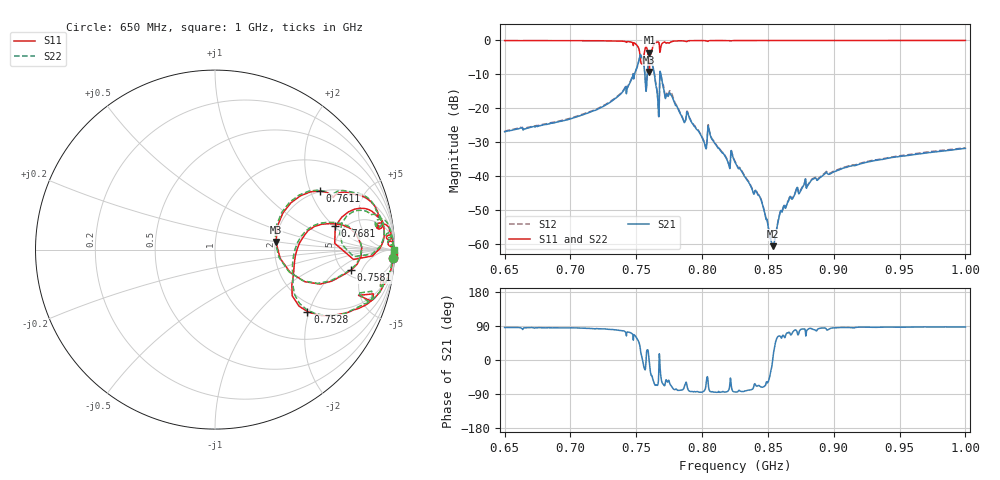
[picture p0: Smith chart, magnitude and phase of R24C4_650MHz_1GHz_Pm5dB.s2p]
!Keysight Technologies,N5221A,MY56011522,A.10.47.06
!Date: Tuesday, September 29, 2020 15:15:48
!Correction: S11(Full 2 Port(1,2))
!S21(Full 2 Port(1,2))
!S12(Full 2 Port(1,2))
!S22(Full 2 Port(1,2))
!S2P File: Measurements: S11, S21, S12, S22:
# Hz S  dB  R 50
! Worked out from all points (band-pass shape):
!   1601 points, 650 MHz to 1 GHz, reference 50 ohm
!   highest |S21| = -3.60 dB at 760 MHz (marker M1); lowest = -60.6 dB at 853.7 MHz (marker M2)
!   |S21| within 3 dB of the highest: 751.6 MHz to 755.6 MHz (3.982 MHz wide, 0.528 % of centre); 758.9854 MHz to 761.464 MHz (2.479 MHz wide, 0.326 % of centre)
!   lowest |S11| = -9.3 dB at 759.8 MHz (marker M3), VSWR 2.04, Z = 101 + j9.7 ohm
!   |S11| at or under -10 dB: nowhere
!   |S22| runs from -9.4 to 0.0 dB; largest |S21 - S12| = 0.053
!   S11 on the Smith chart (normalised r, x): 650 MHz: 6, -41; 752.8 MHz: 1.74, -1.95; 758.1 MHz: 5.81, -3.20; 761.1 MHz: 1.98, +2.34; 768.1 MHz: 4.25, +2.07; 1 GHz: 8, -71
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6.5e8  -0.06 -2.8  -26.91 85.7  -26.72 85.5  -0.07 -2.6
7.084062e8  -0.08 -4.6  -22.04 84.1  -21.85 83.9  -0.09 -4.2
7.447188e8  -0.41 -13.3  -12.89 73.1  -12.66 72.6  -0.43 -13.4
7.528125e8  -4.16 -33.8  -4.57 35.8  -4.59 35.0  -4.26 -33.2
7.556562e8  -4.88 13.1  -6.76 -16.3  -6.54 -15.7  -5.07 13.6
7.580625e8  -2.29 -8.5  -11.66 25.7  -11.34 25.8  -2.38 -8.6
7.598125e8  -9.30 7.1  -3.65 -3.5  -3.57 -3.6  -9.44 7.8
7.600312e8  -8.61 20.4  -3.60 -11.1  -3.53 -11.2  -8.71 21.3
7.61125e8  -3.48 29.2  -5.59 -38.3  -5.50 -38.0  -3.54 29.9
7.644062e8  -0.68 14.6  -11.85 -66.5  -11.69 -65.9  -0.71 15.3
7.668125e8  -0.48 4.6  -20.60 -55.4  -20.46 -55.5  -0.48 5.2
7.68125e8  -3.31 11.0  -9.10 -21.7  -10.15 -15.5  -3.08 7.4
7.694375e8  -1.05 14.5  -11.63 -58.1  -11.77 -53.4  -1.23 14.3
8.018125e8  -0.07 1.5  -30.32 -80.4  -30.13 -80.5  -0.08 2.0
8.0575e8  -0.08 2.3  -27.22 -81.7  -27.04 -82.0  -0.08 2.7
8.25e8  -0.05 0.8  -35.84 -84.4  -35.62 -84.5  -0.04 1.2
8.440312e8  -0.05 0.2  -46.22 -69.4  -46.05 -69.6  -0.04 0.9
8.536562e8  -0.04 -0.2  -60.60 1.9  -60.42 1.4  -0.04 0.6
8.60875e8  -0.04 -0.4  -50.38 62.9  -50.23 63.0  -0.05 0.3
8.834062e8  -0.04 -0.7  -41.05 82.3  -40.88 82.0  -0.04 -0.3
9.418125e8  -0.04 -1.2  -34.67 86.9  -34.50 86.9  -0.04 -0.5
1e9  -0.03 -1.6  -31.81 87.1  -31.65 87.3  -0.01 -0.3
